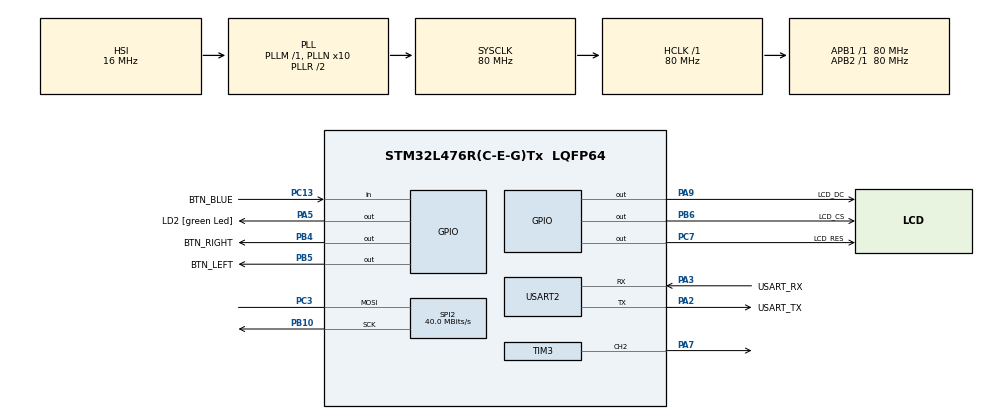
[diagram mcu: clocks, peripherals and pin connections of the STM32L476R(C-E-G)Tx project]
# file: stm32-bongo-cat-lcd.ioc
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Mcu.Family=STM32L4
Mcu.Name=STM32L476R(C-E-G)Tx
Mcu.Package=LQFP64
NVIC.PriorityGroup=NVIC_PRIORITYGROUP_4
PA13\ (JTMS-SWDIO).GPIO_Label=TMS
PA13\ (JTMS-SWDIO).Mode=Serial_Wire
PA13\ (JTMS-SWDIO).Signal=SYS_JTMS-SWDIO
PA14\ (JTCK-SWCLK).GPIO_Label=TCK
PA14\ (JTCK-SWCLK).Mode=Serial_Wire
PA14\ (JTCK-SWCLK).Signal=SYS_JTCK-SWCLK
PA2.GPIO_Label=USART_TX
PA2.GPIO_Mode=GPIO_MODE_AF_PP
PA2.GPIO_PuPd=GPIO_NOPULL
PA2.GPIO_Speed=GPIO_SPEED_FREQ_VERY_HIGH
PA2.Mode=Asynchronous
PA2.Signal=USART2_TX
PA3.GPIO_Label=USART_RX
PA3.GPIO_Mode=GPIO_MODE_AF_PP
PA3.GPIO_PuPd=GPIO_NOPULL
PA3.GPIO_Speed=GPIO_SPEED_FREQ_VERY_HIGH
PA3.Mode=Asynchronous
PA3.Signal=USART2_RX
PA5.GPIO_Label=LD2 [green Led]
PA5.GPIO_ModeDefaultOutputPP=GPIO_MODE_OUTPUT_PP
PA5.GPIO_PuPd=GPIO_NOPULL
PA5.GPIO_Speed=GPIO_SPEED_FREQ_LOW
PA5.Signal=GPIO_Output
PA7.Signal=S_TIM3_CH2
PA9.GPIO_Label=LCD_DC
PA9.Signal=GPIO_Output
PB10.Mode=Simplex_Bidirectional_Master
PB10.Signal=SPI2_SCK
PB3\ (JTDO-TRACESWO).GPIO_Label=SWO
PB3\ (JTDO-TRACESWO).Signal=SYS_JTDO-SWO
PB4\ (NJTRST).GPIO_Label=BTN_RIGHT
PB4\ (NJTRST).GPIO_PuPd=GPIO_PULLDOWN
PB4\ (NJTRST).Signal=GPIO_Output
PB5.GPIO_Label=BTN_LEFT
PB5.GPIO_PuPd=GPIO_PULLDOWN
PB5.Signal=GPIO_Output
PB6.GPIO_Label=LCD_CS
PB6.Signal=GPIO_Output
PC13.GPIO_Label=BTN_BLUE
PC13.Signal=GPIO_Input
PC14-OSC32_IN\ (PC14).Mode=LSE-External-Oscillator
PC14-OSC32_IN\ (PC14).Signal=RCC_OSC32_IN
PC15-OSC32_OUT\ (PC15).Mode=LSE-External-Oscillator
PC15-OSC32_OUT\ (PC15).Signal=RCC_OSC32_OUT
PC3.Mode=Simplex_Bidirectional_Master
PC3.Signal=SPI2_MOSI
PC7.GPIO_Label=LCD_RES
PC7.Signal=GPIO_Output
PH0-OSC_IN\ (PH0).Signal=RCC_OSC_IN
PH1-OSC_OUT\ (PH1).Signal=RCC_OSC_OUT
ProjectManager.HeapSize=0x200
ProjectManager.StackSize=0x400
ProjectManager.TargetToolchain=STM32CubeIDE
RCC.ADCFreq_Value=64000000
RCC.AHBFreq_Value=80000000
RCC.APB1Freq_Value=80000000
RCC.APB1TimFreq_Value=80000000
RCC.APB2Freq_Value=80000000
RCC.APB2TimFreq_Value=80000000
RCC.CortexFreq_Value=80000000
RCC.HCLKFreq_Value=80000000
RCC.HSE_VALUE=8000000
RCC.HSI_VALUE=16000000
RCC.MSI_VALUE=4000000
RCC.PLLN=10
RCC.PLLSourceVirtual=RCC_PLLSOURCE_HSI
RCC.PREFETCH_ENABLE=1
RCC.SYSCLKFreq_VALUE=80000000
RCC.SYSCLKSource=RCC_SYSCLKSOURCE_PLLCLK
RCC.USBFreq_Value=64000000
RCC.VCOOutputFreq_Value=160000000
SH.S_TIM3_CH2.0=TIM3_CH2,PWM Generation2 CH2
SPI2.BaudRatePrescaler=SPI_BAUDRATEPRESCALER_2
SPI2.CalculateBaudRate=40.0 MBits/s
SPI2.DataSize=SPI_DATASIZE_8BIT
SPI2.Direction=SPI_DIRECTION_1LINE
SPI2.Mode=SPI_MODE_MASTER
SPI2.VirtualType=VM_MASTER
TIM3.AutoReloadPreload=TIM_AUTORELOAD_PRELOAD_ENABLE
TIM3.Channel-PWM\ Generation2\ CH2=TIM_CHANNEL_2
TIM3.Period=1000-1
TIM3.Prescaler=300-1
USART2.VirtualMode-Asynchronous=VM_ASYNC
board=NUCLEO-L476RG

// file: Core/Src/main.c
/* USER CODE BEGIN Header */
/**
  ******************************************************************************
  * @file           : main.c
  * @brief          : Main program body
  ******************************************************************************
  * @attention
  *
  * Copyright (c) 2024 STMicroelectronics.
  * All rights reserved.
  *
  * This software is licensed under terms that can be found in the LICENSE file
  * in the root directory of this software component.
  * If no LICENSE file comes with this software, it is provided AS-IS.
  *
  ******************************************************************************
  */
/* USER CODE END Header */
#include "main.h"

/* USER CODE BEGIN Includes */
#include "st7735.h"
#include "fonts.h"
#include "bongo.h"

/* USER CODE END Includes */

SPI_HandleTypeDef hspi2;

TIM_HandleTypeDef htim3;

UART_HandleTypeDef huart2;

void SystemClock_Config(void);
static void MX_GPIO_Init(void);
static void MX_USART2_UART_Init(void);
static void MX_SPI2_Init(void);
static void MX_TIM3_Init(void);

int main(void)
{

  /* MCU Configuration--------------------------------------------------------*/

  /* Reset of all peripherals, Initializes the Flash interface and the Systick. */
  HAL_Init();

  /* Configure the system clock */
  SystemClock_Config();

  /* Initialize all configured peripherals */
  MX_GPIO_Init();
  MX_USART2_UART_Init();
  MX_SPI2_Init();
  MX_TIM3_Init();
  /* USER CODE BEGIN 2 */
  ST7735_Init();
  /* USER CODE END 2 */

  /* Infinite loop */
  /* USER CODE BEGIN WHILE */
  bongo_drawBackground();

  uint8_t leftBtnClicked = false;
  uint8_t rightBtnClicked = false;

  while (1)
  {
    if(HAL_GPIO_ReadPin(BTN_LEFT_GPIO_Port, BTN_LEFT_Pin) == GPIO_PIN_SET) {
      if (!leftBtnClicked) {
	bongo_drawLeftHand(BONGO_DOWN);
	leftBtnClicked = true;
      }
    } else {
      if (leftBtnClicked) {
	bongo_drawLeftHand(BONGO_UP);
	leftBtnClicked = false;
      }
    }

    if(HAL_GPIO_ReadPin(BTN_RIGHT_GPIO_Port, BTN_RIGHT_Pin) == GPIO_PIN_SET) {
      if (!rightBtnClicked) {
	bongo_drawRightHand(BONGO_DOWN);
	rightBtnClicked = true;
      }
    } else {
      if (rightBtnClicked) {
	bongo_drawRightHand(BONGO_UP);
	rightBtnClicked = false;
      }
    }
    /* USER CODE END WHILE */

  }
}

void SystemClock_Config(void)
{
  RCC_OscInitTypeDef RCC_OscInitStruct = {0};
  RCC_ClkInitTypeDef RCC_ClkInitStruct = {0};

  /** Configure the main internal regulator output voltage
  */
  if (HAL_PWREx_ControlVoltageScaling(PWR_REGULATOR_VOLTAGE_SCALE1) != HAL_OK)
  {
    Error_Handler();
  }

  /** Initializes the RCC Oscillators according to the specified parameters
  * in the RCC_OscInitTypeDef structure.
  */
  RCC_OscInitStruct.OscillatorType = RCC_OSCILLATORTYPE_HSI;
  RCC_OscInitStruct.HSIState = RCC_HSI_ON;
  RCC_OscInitStruct.HSICalibrationValue = RCC_HSICALIBRATION_DEFAULT;
  RCC_OscInitStruct.PLL.PLLState = RCC_PLL_ON;
  RCC_OscInitStruct.PLL.PLLSource = RCC_PLLSOURCE_HSI;
  RCC_OscInitStruct.PLL.PLLM = 1;
  RCC_OscInitStruct.PLL.PLLN = 10;
  RCC_OscInitStruct.PLL.PLLP = RCC_PLLP_DIV7;
  RCC_OscInitStruct.PLL.PLLQ = RCC_PLLQ_DIV2;
  RCC_OscInitStruct.PLL.PLLR = RCC_PLLR_DIV2;
  if (HAL_RCC_OscConfig(&RCC_OscInitStruct) != HAL_OK)
  {
    Error_Handler();
  }

  /** Initializes the CPU, AHB and APB buses clocks
  */
  RCC_ClkInitStruct.ClockType = RCC_CLOCKTYPE_HCLK|RCC_CLOCKTYPE_SYSCLK
                              |RCC_CLOCKTYPE_PCLK1|RCC_CLOCKTYPE_PCLK2;
  RCC_ClkInitStruct.SYSCLKSource = RCC_SYSCLKSOURCE_PLLCLK;
  RCC_ClkInitStruct.AHBCLKDivider = RCC_SYSCLK_DIV1;
  RCC_ClkInitStruct.APB1CLKDivider = RCC_HCLK_DIV1;
  RCC_ClkInitStruct.APB2CLKDivider = RCC_HCLK_DIV1;

  if (HAL_RCC_ClockConfig(&RCC_ClkInitStruct, FLASH_LATENCY_4) != HAL_OK)
  {
    Error_Handler();
  }
}

static void MX_SPI2_Init(void)
{

  /* SPI2 parameter configuration*/
  hspi2.Instance = SPI2;
  hspi2.Init.Mode = SPI_MODE_MASTER;
  hspi2.Init.Direction = SPI_DIRECTION_1LINE;
  hspi2.Init.DataSize = SPI_DATASIZE_8BIT;
  hspi2.Init.CLKPolarity = SPI_POLARITY_LOW;
  hspi2.Init.CLKPhase = SPI_PHASE_1EDGE;
  hspi2.Init.NSS = SPI_NSS_SOFT;
  hspi2.Init.BaudRatePrescaler = SPI_BAUDRATEPRESCALER_2;
  hspi2.Init.FirstBit = SPI_FIRSTBIT_MSB;
  hspi2.Init.TIMode = SPI_TIMODE_DISABLE;
  hspi2.Init.CRCCalculation = SPI_CRCCALCULATION_DISABLE;
  hspi2.Init.CRCPolynomial = 7;
  hspi2.Init.CRCLength = SPI_CRC_LENGTH_DATASIZE;
  hspi2.Init.NSSPMode = SPI_NSS_PULSE_ENABLE;
  if (HAL_SPI_Init(&hspi2) != HAL_OK)
  {
    Error_Handler();
  }

}

static void MX_TIM3_Init(void)
{

  TIM_MasterConfigTypeDef sMasterConfig = {0};
  TIM_OC_InitTypeDef sConfigOC = {0};

  htim3.Instance = TIM3;
  htim3.Init.Prescaler = 300-1;
  htim3.Init.CounterMode = TIM_COUNTERMODE_UP;
  htim3.Init.Period = 1000-1;
  htim3.Init.ClockDivision = TIM_CLOCKDIVISION_DIV1;
  htim3.Init.AutoReloadPreload = TIM_AUTORELOAD_PRELOAD_ENABLE;
  if (HAL_TIM_PWM_Init(&htim3) != HAL_OK)
  {
    Error_Handler();
  }
  sMasterConfig.MasterOutputTrigger = TIM_TRGO_RESET;
  sMasterConfig.MasterSlaveMode = TIM_MASTERSLAVEMODE_DISABLE;
  if (HAL_TIMEx_MasterConfigSynchronization(&htim3, &sMasterConfig) != HAL_OK)
  {
    Error_Handler();
  }
  sConfigOC.OCMode = TIM_OCMODE_PWM1;
  sConfigOC.Pulse = 0;
  sConfigOC.OCPolarity = TIM_OCPOLARITY_HIGH;
  sConfigOC.OCFastMode = TIM_OCFAST_DISABLE;
  if (HAL_TIM_PWM_ConfigChannel(&htim3, &sConfigOC, TIM_CHANNEL_2) != HAL_OK)
  {
    Error_Handler();
  }
  HAL_TIM_MspPostInit(&htim3);

}

static void MX_USART2_UART_Init(void)
{

  huart2.Instance = USART2;
  huart2.Init.BaudRate = 115200;
  huart2.Init.WordLength = UART_WORDLENGTH_8B;
  huart2.Init.StopBits = UART_STOPBITS_1;
  huart2.Init.Parity = UART_PARITY_NONE;
  huart2.Init.Mode = UART_MODE_TX_RX;
  huart2.Init.HwFlowCtl = UART_HWCONTROL_NONE;
  huart2.Init.OverSampling = UART_OVERSAMPLING_16;
  huart2.Init.OneBitSampling = UART_ONE_BIT_SAMPLE_DISABLE;
  huart2.AdvancedInit.AdvFeatureInit = UART_ADVFEATURE_NO_INIT;
  if (HAL_UART_Init(&huart2) != HAL_OK)
  {
    Error_Handler();
  }

}

static void MX_GPIO_Init(void)
{
  GPIO_InitTypeDef GPIO_InitStruct = {0};

  /* GPIO Ports Clock Enable */
  __HAL_RCC_GPIOC_CLK_ENABLE();
  __HAL_RCC_GPIOH_CLK_ENABLE();
  __HAL_RCC_GPIOA_CLK_ENABLE();
  __HAL_RCC_GPIOB_CLK_ENABLE();

  /*Configure GPIO pin Output Level */
  HAL_GPIO_WritePin(GPIOA, LD2_Pin|LCD_DC_Pin, GPIO_PIN_RESET);

  /*Configure GPIO pin Output Level */
  HAL_GPIO_WritePin(LCD_RES_GPIO_Port, LCD_RES_Pin, GPIO_PIN_RESET);

  /*Configure GPIO pin Output Level */
  HAL_GPIO_WritePin(GPIOB, BTN_RIGHT_Pin|BTN_LEFT_Pin|LCD_CS_Pin, GPIO_PIN_RESET);

  /*Configure GPIO pin : BTN_BLUE_Pin */
  GPIO_InitStruct.Pin = BTN_BLUE_Pin;
  GPIO_InitStruct.Mode = GPIO_MODE_INPUT;
  GPIO_InitStruct.Pull = GPIO_NOPULL;
  HAL_GPIO_Init(BTN_BLUE_GPIO_Port, &GPIO_InitStruct);

  /*Configure GPIO pins : LD2_Pin LCD_DC_Pin */
  GPIO_InitStruct.Pin = LD2_Pin|LCD_DC_Pin;
  GPIO_InitStruct.Mode = GPIO_MODE_OUTPUT_PP;
  GPIO_InitStruct.Pull = GPIO_NOPULL;
  GPIO_InitStruct.Speed = GPIO_SPEED_FREQ_LOW;
  HAL_GPIO_Init(GPIOA, &GPIO_InitStruct);

  /*Configure GPIO pin : LCD_RES_Pin */
  GPIO_InitStruct.Pin = LCD_RES_Pin;
  GPIO_InitStruct.Mode = GPIO_MODE_OUTPUT_PP;
  GPIO_InitStruct.Pull = GPIO_NOPULL;
  GPIO_InitStruct.Speed = GPIO_SPEED_FREQ_LOW;
  HAL_GPIO_Init(LCD_RES_GPIO_Port, &GPIO_InitStruct);

  /*Configure GPIO pins : BTN_RIGHT_Pin BTN_LEFT_Pin */
  GPIO_InitStruct.Pin = BTN_RIGHT_Pin|BTN_LEFT_Pin;
  GPIO_InitStruct.Mode = GPIO_MODE_OUTPUT_PP;
  GPIO_InitStruct.Pull = GPIO_PULLDOWN;
  GPIO_InitStruct.Speed = GPIO_SPEED_FREQ_LOW;
  HAL_GPIO_Init(GPIOB, &GPIO_InitStruct);

  /*Configure GPIO pin : LCD_CS_Pin */
  GPIO_InitStruct.Pin = LCD_CS_Pin;
  GPIO_InitStruct.Mode = GPIO_MODE_OUTPUT_PP;
  GPIO_InitStruct.Pull = GPIO_NOPULL;
  GPIO_InitStruct.Speed = GPIO_SPEED_FREQ_LOW;
  HAL_GPIO_Init(LCD_CS_GPIO_Port, &GPIO_InitStruct);

}

void Error_Handler(void)
{
  __disable_irq();
  while (1)
  {
  }
}
